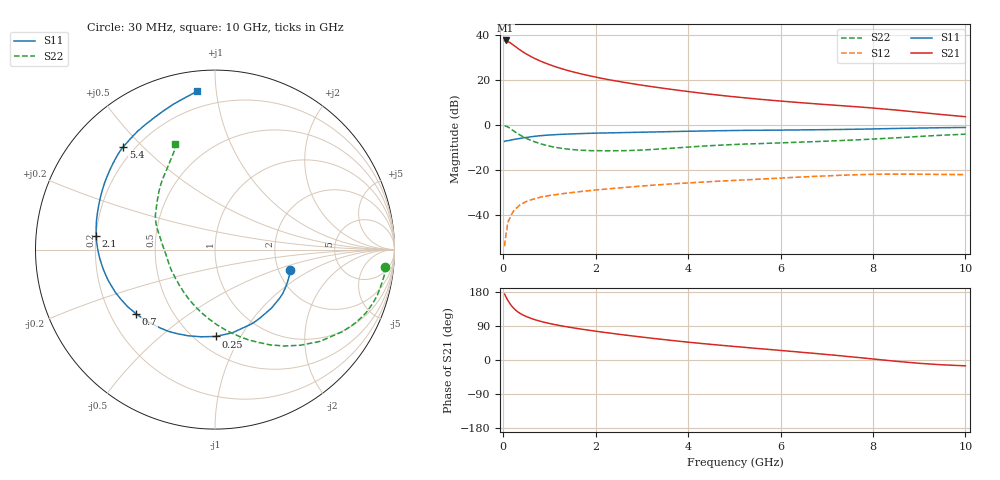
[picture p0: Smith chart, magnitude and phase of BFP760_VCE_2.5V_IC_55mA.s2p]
! Infineon Technologies  Discrete & RF Semiconductors
! BFP760
! VCE =  2.5 V,  IC =  55 mA
! Common Emitter S-Parameters:  Nov 2012
# GHz  S  MA  R  50
!  f  S11  S21  S12  S22
! GHz  MAG  ANG  MAG  ANG  MAG  ANG  MAG  ANG
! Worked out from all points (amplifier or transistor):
!   99 points, 30 MHz to 10 GHz, reference 50 ohm
!   highest |S21| = 37.8 dB at 50 MHz (marker M1)
!   |S21| within 3 dB of that: start of sweep to 281.9 MHz
!   unconditionally stable (mu >= 1): 3.512 GHz to end of sweep
!   at 350 MHz: K = 0.39, MSG = 34.7 dB, |S12| = -35.8 dB
!   at 3.5 GHz: K = 1.00, MSG = 21.4 dB, |S12| = -26.4 dB
!   at 10 GHz: K = 1.05, MAG = 11.5 dB, |S12| = -22.0 dB
!   S11 on the Smith chart (normalised r, x): 30 MHz: 2.33, -0.64; 250 MHz: 0.62, -0.79; 700 MHz: 0.31, -0.32; 2.1 GHz: 0.20, +0.06; 5.4 GHz: 0.16, +0.44; 10 GHz: 0.10, +0.89
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0.03  0.4348 -14.9  75.94 173.9  0.002 91.6  0.9535 -5.7
0.04  0.4389 -19.5  76.32 171.8  0.0027 82.7  0.955 -8.3
0.05  0.4426 -24.2  77.47 168.6  0.003 75.2  0.949 -10.9
0.07  0.4498 -32.9  76.99 163.9  0.0045 80.2  0.9393 -15.7
0.09  0.4505 -41.4  75.02 159.4  0.0059 74.2  0.9218 -20.4
0.15  0.4617 -63.7  68.78 147.8  0.0089 69.9  0.8442 -32.8
0.2  0.4734 -78.1  63.14 140.0  0.0111 64.8  0.7766 -41.2
0.25  0.4839 -89.5  58.09 133.7  0.0133 61.5  0.7139 -48.3
0.35  0.5029 -107.3  48.55 124.2  0.0163 55.8  0.6137 -59.9
0.45  0.5244 -119.7  41.55 117.4  0.0186 52.1  0.539 -69.3
0.6  0.5515 -133.7  33.9 109.9  0.0216 47.8  0.4578 -81.5
0.7  0.5669 -140.9  30.09 105.8  0.0231 45.9  0.4184 -88.6
0.9  0.5927 -152.1  24.49 99.2  0.0258 43.2  0.3611 -101.6
1.1  0.6115 -160.7  20.57 93.8  0.0279 41.6  0.3243 -112.9
1.7  0.6492 -178.3  13.82 81.3  0.0333 40.0  0.275 -139.4
2.1  0.6667 173.3  11.25 74.3  0.0366 39.3  0.2693 -153.0
3.4  0.7099 152.1  6.791 54.9  0.047 37.5  0.2946 174.4
5.1  0.7622 134.0  4.192 34.7  0.0593 33.2  0.374 152.6
5.4  0.7678 131.7  3.913 31.4  0.0613 32.4  0.3842 149.8
6.7  0.7891 122.7  3.027 17.9  0.0718 27.6  0.4279 138.3
8.5  0.8439 105.6  2.173 -3.4  0.0811 15.9  0.5219 121.0
10  0.8899 96.3  1.545 -15.4  0.0791 10.6  0.6294 110.6
